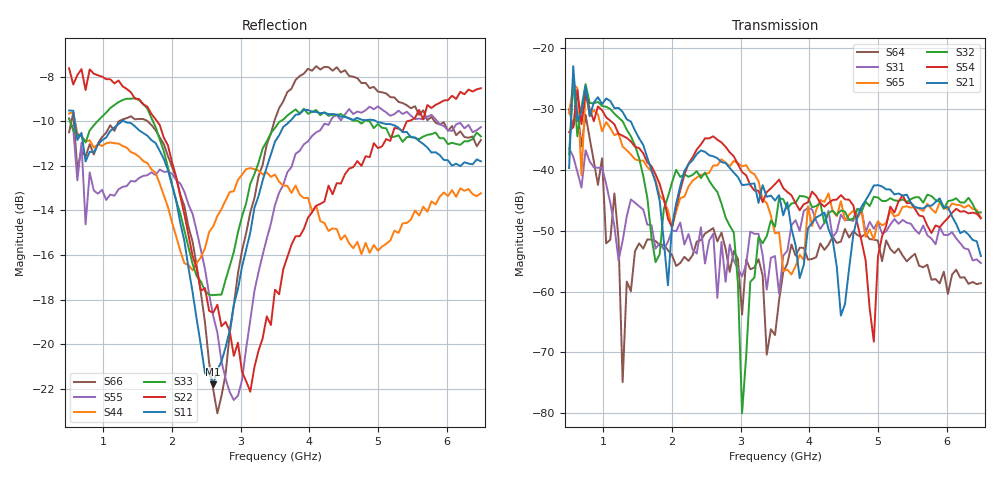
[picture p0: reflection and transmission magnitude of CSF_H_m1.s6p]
!Keysight Technologies,M9804A,MY58100912,A.14.10.03
!Date: Thursday, April 27, 2023 10:28:33
!Correction: S11(C  6-Port  )
!S12(C  6-Port  )
!S13(C  6-Port  )
!S14(C  6-Port  )
!S15(C  6-Port  )
!S16(C  6-Port  )
!S21(C  6-Port  )
!S22(C  6-Port  )
!S23(C  6-Port  )
!S24(C  6-Port  )
!S25(C  6-Port  )
!S26(C  6-Port  )
!S31(C  6-Port  )
!S32(C  6-Port  )
!S33(C  6-Port  )
!S34(C  6-Port  )
!S35(C  6-Port  )
!S36(C  6-Port  )
!S41(C  6-Port  )
!S42(C  6-Port  )
!S43(C  6-Port  )
!S44(C  6-Port  )
!S45(C  6-Port  )
!S46(C  6-Port  )
!S51(C  6-Port  )
!S52(C  6-Port  )
!S53(C  6-Port  )
!S54(C  6-Port  )
!S55(C  6-Port  )
!S56(C  6-Port  )
!S61(C  6-Port  )
!S62(C  6-Port  )
!S63(C  6-Port  )
!S64(C  6-Port  )
!S65(C  6-Port  )
!S66(C  6-Port  )
!S6P File: Measurement: :
# Hz S  RI  R 50
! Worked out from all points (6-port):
!   101 points, 500 MHz to 6.5 GHz, reference 50 ohm
!   strongest paths, dB at 500 MHz, 2 GHz, 3.5 GHz, 5 GHz, 6.5 GHz:
!     S21: -39.7, -49.1, -45.0, -42.5, -54.2
!     S54: -33.8, -49.5, -42.4, -54.3, -48.0
!     S32: -37.5, -42.0, -49.4, -44.5, -47.0
!     S65: -30.7, -49.4, -50.4, -48.5, -47.9
!     S31: -36.5, -50.0, -54.2, -48.5, -55.3
!     S64: -30.0, -54.0, -67.1, -51.6, -58.6
!   lowest |S11| = -21.8 dB at 2.6 GHz (marker M1), VSWR 1.18, Z = 42.7 + j1.91 ohm
!   |S11| at or under -10 dB: 581.5 MHz to 1.271 GHz (689.2 MHz wide, 74.4 % of centre); 1.297 GHz to 3.717 GHz (2.42 GHz wide, 96.5 % of centre); 4.973 GHz to end of sweep
